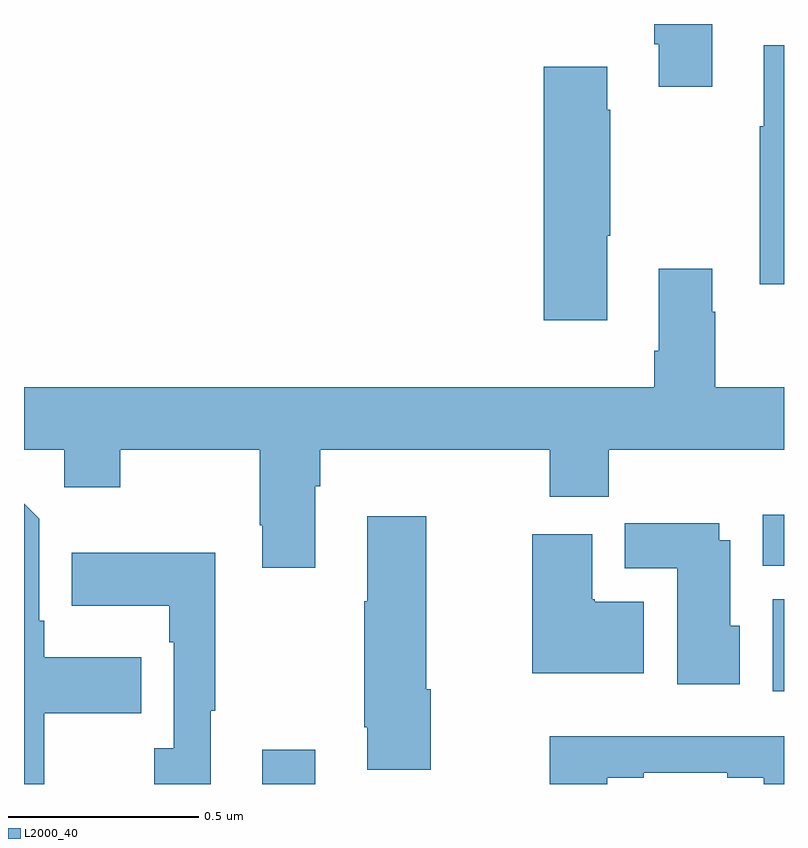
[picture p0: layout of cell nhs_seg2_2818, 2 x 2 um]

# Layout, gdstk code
import gdstk
lib = gdstk.Library(unit=1e-6, precision=1e-09)
def R(c, l, rs):  # rectangles x0, y0, x1, y1
    for r in rs: c.add(gdstk.rectangle(r[:2], r[2:], *l))
def P(c, l, *ps):  # polygons
    for p in ps: c.add(gdstk.Polygon(p, *l))
L2000_40 = (2000, 40)

nhs_seg2_2818 = lib.new_cell('nhs_seg2_2818')
R(nhs_seg2_2818, L2000_40, [(146.627,602.8,146.767,602.89), (147.971,603.044,148,603.286), (147.944,603.374,148,603.508)])
P(nhs_seg2_2818, L2000_40, [(147.811,604.8),(147.659,604.8),(147.659,604.747),(147.671,604.747),(147.671,604.635),(147.811,604.635)],
  [(148,604.744),(147.947,604.744),(147.947,604.531),(147.936,604.531),(147.936,604.115),(148,604.115)],
  [(147.535,604.243),(147.543,604.243),(147.543,604.574),(147.535,604.574),(147.535,604.687),(147.368,604.687),(147.368,604.02),(147.535,604.02)],
  [(146.767,603.584),(146.78,603.584),(146.78,603.68),(147.383,603.68),(147.383,603.556),(147.539,603.556),(147.539,603.68),(148,603.68),(148,603.844),(147.819,603.844),(147.819,604.043),(147.811,604.043),(147.811,604.156),(147.671,604.156),(147.671,603.94),(147.659,603.94),(147.659,603.844),(146,603.844),(146,603.68),(146.106,603.68),(146.106,603.581),(146.253,603.581),(146.253,603.68),(146.62,603.68),(146.62,603.481),(146.627,603.481),(146.627,603.369),(146.767,603.369)],
  [(146.053,602.986),(146.309,602.986),(146.309,603.133),(146.053,603.133),(146.053,603.229),(146.04,603.229),(146.04,603.498),(146,603.538),(146,602.8),(146.053,602.8)],
  [(147.071,603.05),(147.058,603.05),(147.058,603.505),(146.903,603.505),(146.903,603.281),(146.896,603.281),(146.896,602.95),(146.903,602.95),(146.903,602.838),(147.071,602.838)],
  [(147.883,603.216),(147.859,603.216),(147.859,603.442),(147.829,603.442),(147.829,603.486),(147.581,603.486),(147.581,603.368),(147.719,603.368),(147.719,603.062),(147.883,603.062)],
  [(147.631,603.28),(147.502,603.28),(147.502,603.286),(147.496,603.286),(147.496,603.457),(147.338,603.457),(147.338,603.092),(147.631,603.092)],
  [(146.491,602.993),(146.503,602.993),(146.503,603.409),(146.125,603.409),(146.125,603.269),(146.382,603.269),(146.382,603.173),(146.394,603.173),(146.394,602.894),(146.343,602.894),(146.343,602.8),(146.491,602.8)],
  [(147.535,602.817),(147.631,602.817),(147.631,602.829),(147.851,602.829),(147.851,602.817),(147.947,602.817),(147.947,602.8),(148,602.8),(148,602.926),(147.383,602.926),(147.383,602.8),(147.535,602.8)])

lib.write_gds('nhs_seg2_2818.gds')
